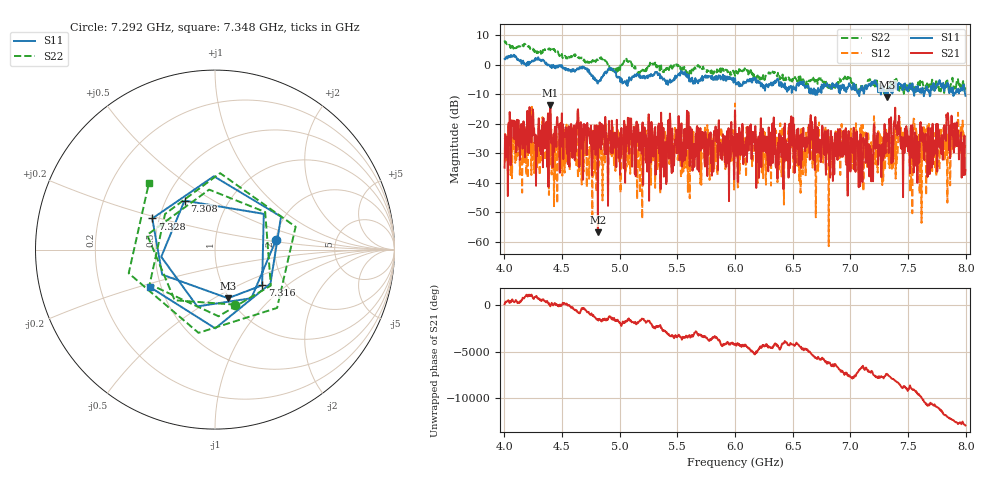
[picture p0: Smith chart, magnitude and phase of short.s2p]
# Hz S RI R 50
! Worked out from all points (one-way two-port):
!   999 points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, 4.004 GHz to 7.996 GHz, reference 50 ohm
!   highest |S21| = -13.67 dB at 4.4 GHz (marker M1); lowest = -56.8 dB at 4.812 GHz (marker M2)
!   lowest |S11| = -11.0 dB at 7.32 GHz (marker M3), VSWR 1.78, Z = 49.3 - j29 ohm
!   |S11| at or under -10 dB: 6.691841 GHz to 6.692195 GHz (354 kHz wide, 0.00529 % of centre); 7.686581 GHz to 7.692797 GHz (6.216 MHz wide, 0.0808 % of centre); 7.891215 GHz to 7.897344 GHz (6.13 MHz wide, 0.0776 % of centre) (the widest 3 of 12)
!   |S22| runs from -9.9 to 8.3 dB; largest |S21 - S12| = 0.39
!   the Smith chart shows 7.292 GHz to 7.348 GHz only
!   S11 on the Smith chart (normalised r, x): 7.292 GHz: 2.01, +0.25; 7.308 GHz: 0.62, +0.38; 7.316 GHz: 1.53, -0.68; 7.328 GHz: 0.46, +0.19; 7.348 GHz: 0.43, -0.22
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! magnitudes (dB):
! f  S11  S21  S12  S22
! 4.004 GHz  2.1  -34.9  -25.1  8.3
! 4.064 GHz  3.0  -19.8  -26.3  7.0
! 4.4 GHz  -0.7  -13.7  -16.9  5.0
! 4.672 GHz  -0.8  -21.6  -40.6  2.5
! 4.812 GHz  -6.3  -56.8  -26.9  1.7
! 5.336 GHz  -3.3  -27.3  -32.6  -0.9
! 6 GHz  -4.5  -15.4  -13.1  -3.7
! 6.668 GHz  -8.5  -19.4  -25.3  -4.8
! 7.088 GHz  -8.1  -23.5  -30.3  -8.9
! 7.292 GHz  -9.3  -31.2  -26.2  -9.7
! 7.308 GHz  -9.9  -23.0  -21.3  -9.1
! 7.316 GHz  -9.6  -25.8  -31.7  -8.6
! 7.32 GHz  -11.0  -24.3  -27.7  -7.7
! 7.328 GHz  -8.2  -23.3  -25.2  -7.4
! 7.332 GHz  -7.8  -29.9  -33.7  -6.6
! 7.348 GHz  -7.6  -21.2  -24.2  -5.7
! 7.488 GHz  -8.7  -22.6  -27.7  -7.8
! 7.524 GHz  -7.2  -20.6  -42.0  -6.7
! 7.564 GHz  -8.8  -31.0  -24.3  -9.2
! 7.6 GHz  -8.3  -29.2  -43.8  -7.7
! 7.844 GHz  -6.5  -16.3  -23.2  -6.5
! 7.996 GHz  -10.5  -35.7  -27.7  -8.3
